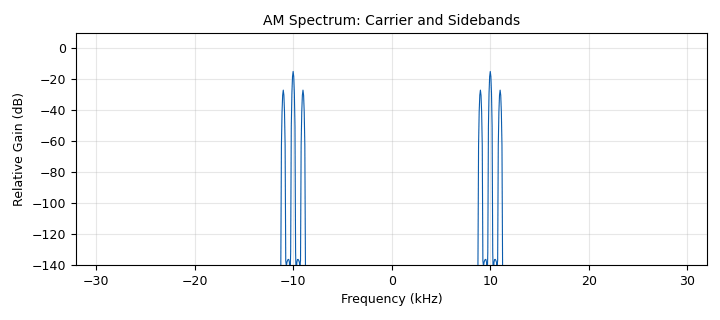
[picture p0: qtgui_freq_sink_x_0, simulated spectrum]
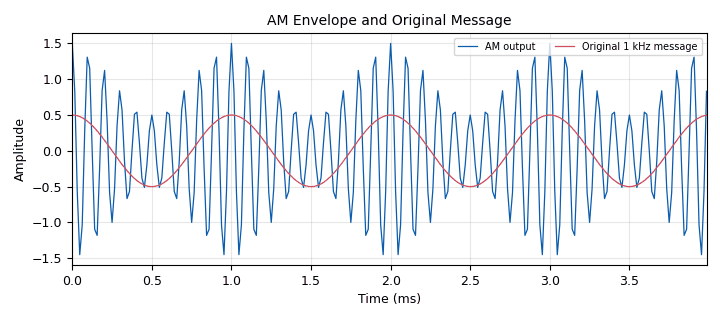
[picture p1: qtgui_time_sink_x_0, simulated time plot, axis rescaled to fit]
options:
  parameters:
    author: Dhrubjun
    generate_options: qt_gui
    id: exp1
    output_language: python
    title: Conventional AM and Modulation Index
  states: {}

blocks:
- name: carrier_freq
  id: variable
  parameters:
    value: '10000'
  states: {}
- name: message_freq
  id: variable
  parameters:
    value: '1000'
  states: {}
- name: mu
  id: variable_qtgui_range
  parameters:
    label: Modulation Index (μ)
    start: '0'
    step: '0.1'
    stop: '1.5'
    value: '0.5'
  states: {}
- name: samp_rate
  id: variable
  parameters:
    value: '64000'
  states: {}
- name: analog_const_source_x_0
  id: analog_const_source_x
  parameters:
    const: '1'
    type: float
  states: {}
- name: analog_sig_source_x_0
  id: analog_sig_source_x
  parameters:
    amp: mu
    freq: message_freq
    offset: '0'
    phase: '0'
    samp_rate: samp_rate
    type: float
    waveform: analog.GR_COS_WAVE
  states: {}
- name: analog_sig_source_x_0_0
  id: analog_sig_source_x
  parameters:
    amp: '1'
    freq: carrier_freq
    offset: '0'
    phase: '0'
    samp_rate: samp_rate
    type: float
    waveform: analog.GR_COS_WAVE
  states: {}
- name: blocks_add_xx_0
  id: blocks_add_xx
  parameters:
    type: float
  states: {}
- name: blocks_multiply_xx_0
  id: blocks_multiply_xx
  parameters:
    type: float
  states: {}
- name: blocks_throttle2_0
  id: blocks_throttle2
  parameters:
    samples_per_second: samp_rate
    type: float
  states: {}
- name: qtgui_freq_sink_x_0
  id: qtgui_freq_sink_x
  parameters:
    bw: samp_rate
    fc: '0'
    fftsize: '1024'
    name: 'AM Spectrum: Carrier and Sidebands'
    type: float
  states: {}
- name: qtgui_time_sink_x_0
  id: qtgui_time_sink_x
  parameters:
    label1: AM output
    label2: Original 1 kHz message
    name: AM Envelope and Original Message
    nconnections: '2'
    size: '256'
    srate: samp_rate
    type: float
  states: {}

connections:
- [analog_const_source_x_0, '0', blocks_add_xx_0, '1']
- [analog_sig_source_x_0, '0', blocks_add_xx_0, '0']
- [analog_sig_source_x_0, '0', qtgui_time_sink_x_0, '1']
- [analog_sig_source_x_0_0, '0', blocks_multiply_xx_0, '1']
- [blocks_add_xx_0, '0', blocks_multiply_xx_0, '0']
- [blocks_multiply_xx_0, '0', blocks_throttle2_0, '0']
- [blocks_throttle2_0, '0', qtgui_freq_sink_x_0, '0']
- [blocks_throttle2_0, '0', qtgui_time_sink_x_0, '0']

metadata:
  file_format: 1
  grc_version: 3.10.12.0
